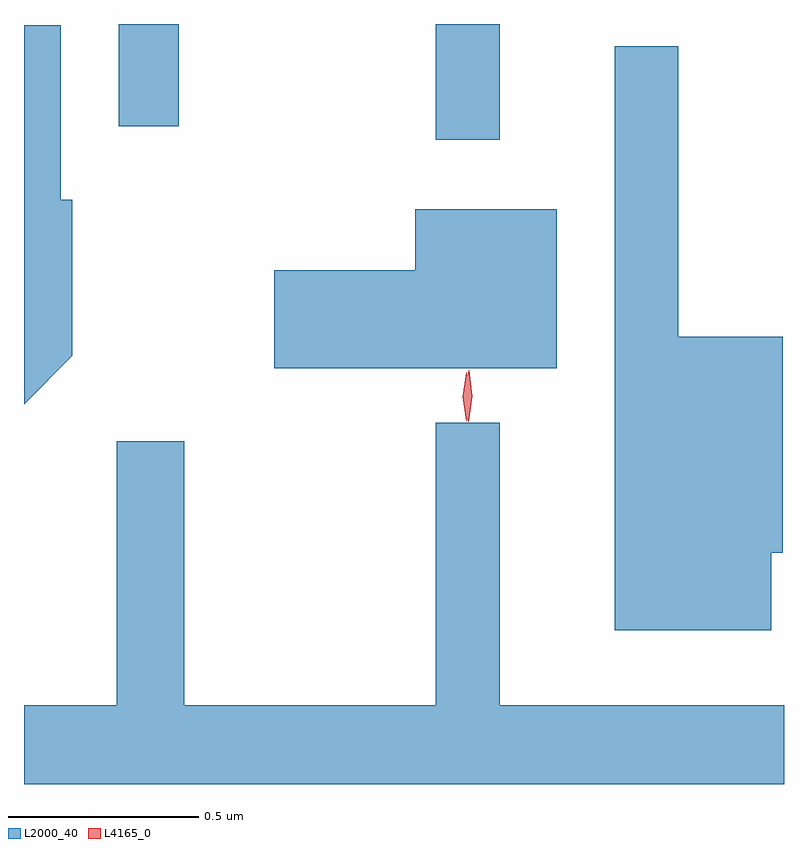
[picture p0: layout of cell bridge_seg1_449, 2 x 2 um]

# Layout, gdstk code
import gdstk
lib = gdstk.Library(unit=1e-6, precision=1e-09)
def R(c, l, rs):  # rectangles x0, y0, x1, y1
    for r in rs: c.add(gdstk.rectangle(r[:2], r[2:], *l))
def P(c, l, *ps):  # polygons
    for p in ps: c.add(gdstk.Polygon(p, *l))
L2000_40 = (2000, 40)
L4165_0 = (4165, 0)

bridge_seg1_449 = lib.new_cell('bridge_seg1_449')
R(bridge_seg1_449, L2000_40, [(233.851,859.153,234.019,859.457), (233.016,859.188,233.174,859.457)])
P(bridge_seg1_449, L2000_40, [(232.894,858.584),(232.894,858.994),(232.864,858.994),(232.864,859.454),(232.767,859.454),(232.767,858.457)],
  [(234.734,858.066),(234.764,858.066),(234.764,858.634),(234.489,858.634),(234.489,859.398),(234.321,859.398),(234.321,857.861),(234.734,857.861)],
  [(234.169,858.969),(233.796,858.969),(233.796,858.809),(233.426,858.809),(233.426,858.551),(234.169,858.551)],
  [(234.767,857.664),(234.019,857.664),(234.019,858.408),(233.851,858.408),(233.851,857.664),(233.189,857.664),(233.189,858.359),(233.011,858.359),(233.011,857.664),(232.767,857.664),(232.767,857.457),(234.767,857.457)])
P(bridge_seg1_449, L4165_0, [(233.931,858.413),(233.922,858.476),(233.931,858.539),(233.932,858.54),(233.932,858.539),(233.942,858.476),(233.932,858.413),(233.932,858.413)],
  [(233.936,858.41),(233.927,858.478),(233.938,858.546),(233.938,858.546),(233.939,858.546),(233.947,858.478),(233.937,858.41),(233.937,858.41)])

lib.write_gds('bridge_seg1_449.gds')
